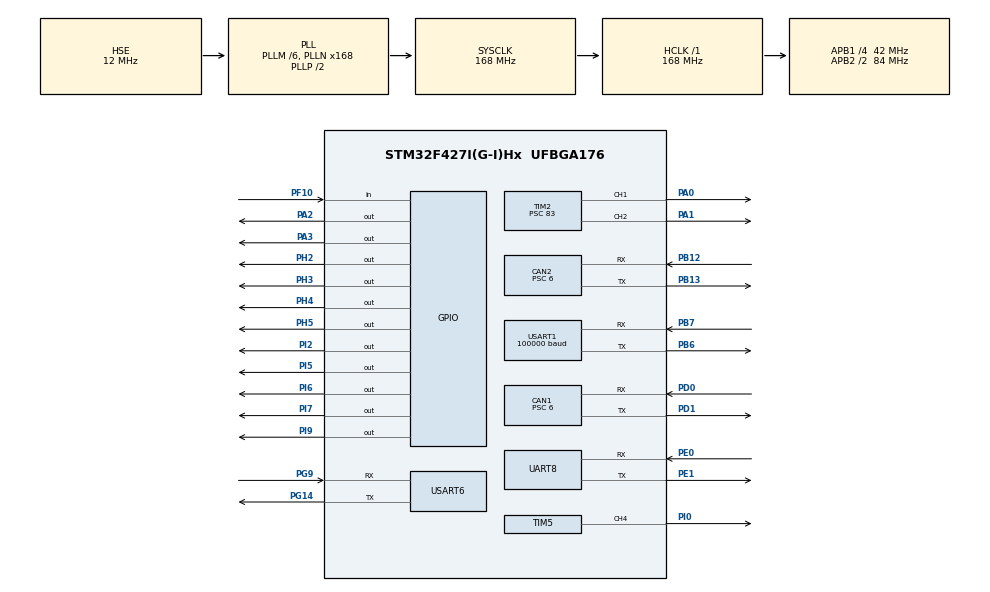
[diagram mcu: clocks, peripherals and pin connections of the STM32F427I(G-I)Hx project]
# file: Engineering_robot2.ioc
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CAN1.ABOM=ENABLE
CAN1.AWUM=ENABLE
CAN1.BS1=CAN_BS1_3TQ
CAN1.BS2=CAN_BS2_3TQ
CAN1.CalculateBaudRate=1000000
CAN1.CalculateTimeBit=1000
CAN1.CalculateTimeQuantum=142.85714285714286
CAN1.Prescaler=6
CAN1.TXFP=DISABLE
CAN2.ABOM=ENABLE
CAN2.AWUM=ENABLE
CAN2.BS1=CAN_BS1_3TQ
CAN2.BS2=CAN_BS2_3TQ
CAN2.CalculateBaudRate=1000000
CAN2.CalculateTimeBit=1000
CAN2.CalculateTimeQuantum=142.85714285714286
CAN2.Prescaler=6
CAN2.TXFP=DISABLE
Dma.Request0=USART1_RX
Dma.Request1=UART8_RX
Dma.Request2=USART6_RX
Dma.UART8_RX.1.Direction=DMA_PERIPH_TO_MEMORY
Dma.UART8_RX.1.FIFOMode=DMA_FIFOMODE_DISABLE
Dma.UART8_RX.1.Instance=DMA1_Stream6
Dma.UART8_RX.1.MemDataAlignment=DMA_MDATAALIGN_BYTE
Dma.UART8_RX.1.MemInc=DMA_MINC_ENABLE
Dma.UART8_RX.1.Mode=DMA_CIRCULAR
Dma.UART8_RX.1.PeriphDataAlignment=DMA_PDATAALIGN_BYTE
Dma.UART8_RX.1.PeriphInc=DMA_PINC_DISABLE
Dma.UART8_RX.1.Priority=DMA_PRIORITY_LOW
Dma.USART1_RX.0.Direction=DMA_PERIPH_TO_MEMORY
Dma.USART1_RX.0.FIFOMode=DMA_FIFOMODE_DISABLE
Dma.USART1_RX.0.Instance=DMA2_Stream2
Dma.USART1_RX.0.MemDataAlignment=DMA_MDATAALIGN_BYTE
Dma.USART1_RX.0.MemInc=DMA_MINC_ENABLE
Dma.USART1_RX.0.Mode=DMA_CIRCULAR
Dma.USART1_RX.0.PeriphDataAlignment=DMA_PDATAALIGN_BYTE
Dma.USART1_RX.0.PeriphInc=DMA_PINC_DISABLE
Dma.USART1_RX.0.Priority=DMA_PRIORITY_VERY_HIGH
Dma.USART6_RX.2.Direction=DMA_PERIPH_TO_MEMORY
Dma.USART6_RX.2.FIFOMode=DMA_FIFOMODE_DISABLE
Dma.USART6_RX.2.Instance=DMA2_Stream1
Dma.USART6_RX.2.MemDataAlignment=DMA_MDATAALIGN_BYTE
Dma.USART6_RX.2.MemInc=DMA_MINC_ENABLE
Dma.USART6_RX.2.Mode=DMA_CIRCULAR
Dma.USART6_RX.2.PeriphDataAlignment=DMA_PDATAALIGN_BYTE
Dma.USART6_RX.2.PeriphInc=DMA_PINC_DISABLE
Dma.USART6_RX.2.Priority=DMA_PRIORITY_LOW
Mcu.Family=STM32F4
Mcu.Name=STM32F427I(G-I)Hx
Mcu.Package=UFBGA176
NVIC.CAN1_RX0_IRQn=true\:1\:0\:true\:false\:true\:true\:true
NVIC.CAN2_RX0_IRQn=true\:0\:0\:false\:false\:true\:true\:true
NVIC.DMA1_Stream6_IRQn=true\:0\:0\:false\:false\:true\:false\:true
NVIC.DMA2_Stream1_IRQn=true\:0\:0\:false\:false\:true\:false\:true
NVIC.DMA2_Stream2_IRQn=true\:0\:0\:true\:false\:true\:false\:true
NVIC.PriorityGroup=NVIC_PRIORITYGROUP_4
NVIC.TIM2_IRQn=true\:1\:0\:true\:false\:true\:true\:true
NVIC.TIM3_IRQn=true\:1\:0\:true\:false\:true\:true\:true
NVIC.UART8_IRQn=true\:0\:0\:false\:false\:true\:true\:true
NVIC.USART1_IRQn=true\:0\:0\:true\:false\:true\:true\:true
NVIC.USART6_IRQn=true\:0\:0\:false\:false\:true\:true\:true
PA0/WKUP.Signal=S_TIM2_CH1_ETR
PA1.Signal=S_TIM2_CH2
PA13.Mode=Serial_Wire
PA13.Signal=SYS_JTMS-SWDIO
PA14.Mode=Serial_Wire
PA14.Signal=SYS_JTCK-SWCLK
PA2.GPIO_ModeDefaultOutputPP=GPIO_MODE_OUTPUT_PP
PA2.GPIO_PuPd=GPIO_NOPULL
PA2.GPIO_Speed=GPIO_SPEED_FREQ_HIGH
PA2.PinState=GPIO_PIN_SET
PA2.Signal=GPIO_Output
PA3.GPIO_Speed=GPIO_SPEED_FREQ_HIGH
PA3.PinState=GPIO_PIN_SET
PA3.Signal=GPIO_Output
PB12.Mode=CAN_Activate
PB12.Signal=CAN2_RX
PB13.Mode=CAN_Activate
PB13.Signal=CAN2_TX
PB6.Mode=Asynchronous
PB6.Signal=USART1_TX
PB7.Mode=Asynchronous
PB7.Signal=USART1_RX
PD0.Mode=CAN_Activate
PD0.Signal=CAN1_RX
PD1.Mode=CAN_Activate
PD1.Signal=CAN1_TX
PD14.Signal=S_TIM4_CH3
PD15.Signal=S_TIM4_CH4
PE0.Mode=Asynchronous
PE0.Signal=UART8_RX
PE1.Mode=Asynchronous
PE1.Signal=UART8_TX
PF10.GPIO_Mode=GPIO_MODE_INPUT
PF10.GPIO_PuPd=GPIO_PULLDOWN
PF10.Signal=GPIO_Input
PG14.Mode=Asynchronous
PG14.Signal=USART6_TX
PG9.Mode=Asynchronous
PG9.Signal=USART6_RX
PH0/OSC_IN.Mode=HSE-External-Oscillator
PH0/OSC_IN.Signal=RCC_OSC_IN
PH1/OSC_OUT.Mode=HSE-External-Oscillator
PH1/OSC_OUT.Signal=RCC_OSC_OUT
PH2.GPIO_PuPd=GPIO_PULLUP
PH2.GPIO_Speed=GPIO_SPEED_FREQ_HIGH
PH2.PinState=GPIO_PIN_SET
PH2.Signal=GPIO_Output
PH3.GPIO_ModeDefaultOutputPP=GPIO_MODE_OUTPUT_PP
PH3.GPIO_PuPd=GPIO_PULLUP
PH3.GPIO_Speed=GPIO_SPEED_FREQ_HIGH
PH3.PinState=GPIO_PIN_SET
PH3.Signal=GPIO_Output
PH4.GPIO_PuPd=GPIO_PULLUP
PH4.GPIO_Speed=GPIO_SPEED_FREQ_HIGH
PH4.PinState=GPIO_PIN_SET
PH4.Signal=GPIO_Output
PH5.GPIO_ModeDefaultOutputPP=GPIO_MODE_OUTPUT_PP
PH5.GPIO_PuPd=GPIO_PULLUP
PH5.GPIO_Speed=GPIO_SPEED_FREQ_HIGH
PH5.PinState=GPIO_PIN_SET
PH5.Signal=GPIO_Output
PI0.Signal=S_TIM5_CH4
PI2.GPIO_Speed=GPIO_SPEED_FREQ_HIGH
PI2.PinState=GPIO_PIN_RESET
PI2.Signal=GPIO_Output
PI5.GPIO_Speed=GPIO_SPEED_FREQ_HIGH
PI5.PinState=GPIO_PIN_RESET
PI5.Signal=GPIO_Output
PI6.GPIO_Speed=GPIO_SPEED_FREQ_HIGH
PI6.PinState=GPIO_PIN_RESET
PI6.Signal=GPIO_Output
PI7.GPIO_Speed=GPIO_SPEED_FREQ_HIGH
PI7.PinState=GPIO_PIN_RESET
PI7.Signal=GPIO_Output
PI9.GPIO_PuPd=GPIO_PULLUP
PI9.GPIO_Speed=GPIO_SPEED_FREQ_HIGH
PI9.PinState=GPIO_PIN_SET
PI9.Signal=GPIO_Output
ProjectManager.HeapSize=0x200
ProjectManager.StackSize=0x400
ProjectManager.TargetToolchain=MDK-ARM V5
RCC.48MHZClocksFreq_Value=84000000
RCC.AHBFreq_Value=168000000
RCC.APB1CLKDivider=RCC_HCLK_DIV4
RCC.APB1Freq_Value=42000000
RCC.APB1TimFreq_Value=84000000
RCC.APB2CLKDivider=RCC_HCLK_DIV2
RCC.APB2Freq_Value=84000000
RCC.APB2TimFreq_Value=168000000
RCC.CortexFreq_Value=168000000
RCC.HCLKFreq_Value=168000000
RCC.HSE_VALUE=12000000
RCC.HSI_VALUE=16000000
RCC.LSE_VALUE=32768
RCC.PLLM=6
RCC.PLLN=168
RCC.PLLSourceVirtual=RCC_PLLSOURCE_HSE
RCC.SYSCLKFreq_VALUE=168000000
RCC.SYSCLKSource=RCC_SYSCLKSOURCE_PLLCLK
RCC.VCOOutputFreq_Value=336000000
SH.S_TIM2_CH1_ETR.0=TIM2_CH1,PWM Generation1 CH1
SH.S_TIM2_CH2.0=TIM2_CH2,PWM Generation2 CH2
SH.S_TIM4_CH3.0=TIM4_CH3
SH.S_TIM4_CH4.0=TIM4_CH4
SH.S_TIM5_CH4.0=TIM5_CH4,PWM Generation4 CH4
TIM2.AutoReloadPreload=TIM_AUTORELOAD_PRELOAD_ENABLE
TIM2.Channel-PWM\ Generation1\ CH1=TIM_CHANNEL_1
TIM2.Channel-PWM\ Generation2\ CH2=TIM_CHANNEL_2
TIM2.Period=999
TIM2.Prescaler=83
TIM3.AutoReloadPreload=TIM_AUTORELOAD_PRELOAD_ENABLE
TIM3.Period=9999
TIM3.Prescaler=83
TIM5.Channel-PWM\ Generation4\ CH4=TIM_CHANNEL_4
TIM5.Period=19999
TIM5.Prescaler=83
UART8.VirtualMode=Asynchronous
USART1.BaudRate=100000
USART1.Parity=PARITY_EVEN
USART1.VirtualMode=VM_ASYNC
USART1.WordLength=WORDLENGTH_9B
USART6.VirtualMode=VM_ASYNC
VP_TIM2_VS_ClockSourceINT.Mode=Internal
VP_TIM3_VS_ClockSourceINT.Mode=Internal
VP_TIM5_VS_ClockSourceINT.Mode=Internal
board=custom

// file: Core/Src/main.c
/* USER CODE BEGIN Header */
/**
  ******************************************************************************
  * @file           : main.c
  * @brief          : Main program body
  ******************************************************************************
  * @attention
  *
  * Copyright (c) 2022 STMicroelectronics.
  * All rights reserved.
  *
  * This software is licensed under terms that can be found in the LICENSE file
  * in the root directory of this software component.
  * If no LICENSE file comes with this software, it is provided AS-IS.
  *
  ******************************************************************************
  */
/* USER CODE END Header */
#include "main.h"
#include "can.h"
#include "dma.h"
#include "tim.h"
#include "usart.h"
#include "gpio.h"

/* USER CODE BEGIN Includes */
#include "moto.h"
#include "remote_control.h"
#include "pid.h"
#include "angle.h"
#include "output_data.h"
#include "joint.h"
#include "gyroscope.h"
/* USER CODE END Includes */

void SystemClock_Config(void);

int main(void)
{

  /* MCU Configuration--------------------------------------------------------*/

  /* Reset of all peripherals, Initializes the Flash interface and the Systick. */
  HAL_Init();

  /* Configure the system clock */
  SystemClock_Config();

  /* Initialize all configured peripherals */
  MX_GPIO_Init();
  MX_DMA_Init();
  MX_CAN1_Init();
  MX_USART1_UART_Init();
  MX_TIM2_Init();
  MX_CAN2_Init();
  MX_TIM3_Init();
  MX_UART8_Init();
  MX_USART6_UART_Init();
  MX_TIM5_Init();
  /* USER CODE BEGIN 2 */
  HAL_CAN_Start(&hcan1);
	HAL_CAN_Start(&hcan2);
	HAL_TIM_Base_Start_IT(&htim2);
	HAL_TIM_Base_Start_IT(&htim3);
	Remote_Control_Init();
  Moto_Init();
	Joint_Init();
	Gyro1_Init();
	Gyro2_Init();
	HAL_TIM_PWM_Start(&htim5,TIM_CHANNEL_4);
	__HAL_TIM_SetCompare(&htim5,TIM_CHANNEL_4,500);
  /* USER CODE END 2 */

  /* Infinite loop */
  /* USER CODE BEGIN WHILE */
	All_Pid_Init();
  while (1)
  {
    /* USER CODE END WHILE */

  }
}

void SystemClock_Config(void)
{
  RCC_OscInitTypeDef RCC_OscInitStruct = {0};
  RCC_ClkInitTypeDef RCC_ClkInitStruct = {0};

  /** Configure the main internal regulator output voltage
  */
  __HAL_RCC_PWR_CLK_ENABLE();
  __HAL_PWR_VOLTAGESCALING_CONFIG(PWR_REGULATOR_VOLTAGE_SCALE1);
  /** Initializes the RCC Oscillators according to the specified parameters
  * in the RCC_OscInitTypeDef structure.
  */
  RCC_OscInitStruct.OscillatorType = RCC_OSCILLATORTYPE_HSE;
  RCC_OscInitStruct.HSEState = RCC_HSE_ON;
  RCC_OscInitStruct.PLL.PLLState = RCC_PLL_ON;
  RCC_OscInitStruct.PLL.PLLSource = RCC_PLLSOURCE_HSE;
  RCC_OscInitStruct.PLL.PLLM = 6;
  RCC_OscInitStruct.PLL.PLLN = 168;
  RCC_OscInitStruct.PLL.PLLP = RCC_PLLP_DIV2;
  RCC_OscInitStruct.PLL.PLLQ = 4;
  if (HAL_RCC_OscConfig(&RCC_OscInitStruct) != HAL_OK)
  {
    Error_Handler();
  }
  /** Initializes the CPU, AHB and APB buses clocks
  */
  RCC_ClkInitStruct.ClockType = RCC_CLOCKTYPE_HCLK|RCC_CLOCKTYPE_SYSCLK
                              |RCC_CLOCKTYPE_PCLK1|RCC_CLOCKTYPE_PCLK2;
  RCC_ClkInitStruct.SYSCLKSource = RCC_SYSCLKSOURCE_PLLCLK;
  RCC_ClkInitStruct.AHBCLKDivider = RCC_SYSCLK_DIV1;
  RCC_ClkInitStruct.APB1CLKDivider = RCC_HCLK_DIV4;
  RCC_ClkInitStruct.APB2CLKDivider = RCC_HCLK_DIV2;

  if (HAL_RCC_ClockConfig(&RCC_ClkInitStruct, FLASH_LATENCY_5) != HAL_OK)
  {
    Error_Handler();
  }
}

void Error_Handler(void)
{
  __disable_irq();
  while (1)
  {
  }
}
